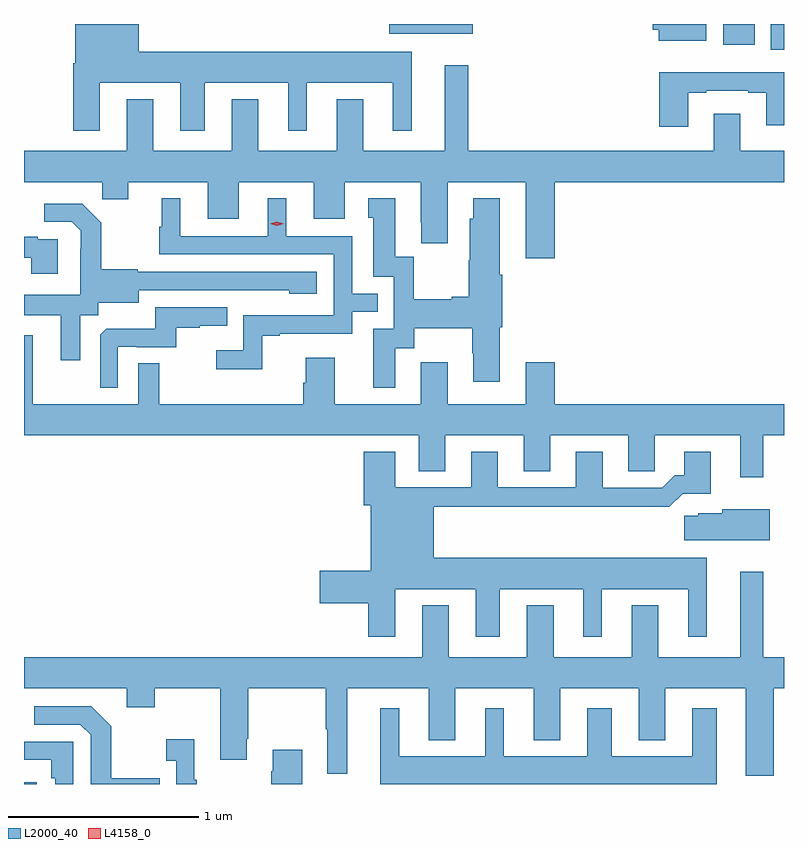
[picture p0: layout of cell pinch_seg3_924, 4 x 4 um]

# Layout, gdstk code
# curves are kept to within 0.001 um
import gdstk
lib = gdstk.Library(unit=1e-6, precision=1e-09)
def R(c, l, rs):  # rectangles x0, y0, x1, y1
    for r in rs: c.add(gdstk.rectangle(r[:2], r[2:], *l))
def P(c, l, *ps):  # polygons
    for p in ps: c.add(gdstk.Polygon(p, *l))
L2000_40 = (2000, 40)
L4158_0 = (4158, 0)

pinch_seg3_924 = lib.new_cell('pinch_seg3_924')
R(pinch_seg3_924, L2000_40, [(861.322,679.1,861.388,679.11), (865.253,682.964,865.322,683.1), (865.001,682.992,865.168,683.1), (863.244,683.048,863.683,683.1)])
P(pinch_seg3_924, L2000_40, [(861.721,682.79),(862.145,682.79),(862.145,682.539),(862.273,682.539),(862.273,682.79),(862.712,682.79),(862.712,682.539),(862.81,682.539),(862.81,682.79),(863.264,682.79),(863.264,682.539),(863.362,682.539),(863.362,682.954),(861.925,682.954),(861.925,683.1),(861.593,683.1),(861.593,682.894),(861.581,682.894),(861.581,682.539),(861.721,682.539)],
  [(864.913,683.1),(864.632,683.1),(864.632,683.07),(864.662,683.07),(864.662,683.012),(864.913,683.012)],
  [(864.116,682.268),(865.322,682.268),(865.322,682.432),(865.093,682.432),(865.093,682.627),(864.953,682.627),(864.953,682.432),(863.659,682.432),(863.659,682.882),(863.537,682.882),(863.537,682.432),(863.107,682.432),(863.107,682.705),(862.967,682.705),(862.967,682.432),(862.555,682.432),(862.555,682.705),(862.415,682.705),(862.415,682.432),(862.003,682.432),(862.003,682.705),(861.863,682.705),(861.863,682.432),(861.322,682.432),(861.322,682.268),(861.733,682.268),(861.733,682.178),(861.871,682.178),(861.871,682.268),(862.289,682.268),(862.289,682.074),(862.453,682.074),(862.453,682.268),(862.847,682.268),(862.847,682.074),(863.011,682.074),(863.011,682.268),(863.411,682.268),(863.411,682.057),(863.414,682.057),(863.414,681.945),(863.551,681.945),(863.551,682.268),(863.963,682.268),(863.963,681.867),(864.116,681.867)],
  [(864.817,682.737),(864.913,682.737),(864.913,682.749),(865.133,682.749),(865.133,682.737),(865.229,682.737),(865.229,682.568),(865.322,682.568),(865.322,682.846),(864.665,682.846),(864.665,682.56),(864.817,682.56)],
  [(863.275,681.394),(863.377,681.394),(863.377,681.5),(863.68,681.5),(863.68,681.366),(863.687,681.366),(863.687,681.216),(863.827,681.216),(863.827,681.504),(863.84,681.504),(863.84,681.779),(863.827,681.779),(863.827,682.183),(863.687,682.183),(863.687,682.074),(863.669,682.074),(863.669,681.857),(863.662,681.857),(863.662,681.665),(863.573,681.665),(863.573,681.652),(863.373,681.652),(863.373,681.875),(863.275,681.875),(863.275,682.183),(863.135,682.183),(863.135,682.08),(863.159,682.08),(863.159,681.771),(863.268,681.771),(863.268,681.495),(863.159,681.495),(863.159,681.186),(863.275,681.186)],
  [(862.575,681.459),(862.669,681.459),(862.669,681.471),(863.049,681.471),(863.049,681.585),(863.183,681.585),(863.183,681.681),(863.049,681.681),(863.049,681.984),(862.702,681.984),(862.702,682.183),(862.604,682.183),(862.604,681.984),(862.144,681.984),(862.144,682.183),(862.046,682.183),(862.046,682.032),(862.035,682.032),(862.035,681.888),(862.953,681.888),(862.953,681.567),(862.476,681.567),(862.476,681.382),(862.335,681.382),(862.335,681.284),(862.575,681.284)],
  [(861.619,681.568),(861.714,681.568),(861.714,681.632),(861.925,681.632),(861.925,681.699),(862.719,681.698),(862.719,681.68),(862.864,681.68),(862.864,681.795),(861.921,681.795),(861.921,681.808),(861.729,681.808),(861.729,682.053),(861.629,682.153),(861.429,682.153),(861.429,682.059),(861.573,682.059),(861.62,682.012),(861.62,681.917),(861.618,681.917),(861.618,681.676),(861.322,681.676),(861.322,681.566),(861.515,681.566),(861.515,681.33),(861.619,681.33)],
  [(861.499,681.966),(861.395,681.966),(861.395,681.979),(861.322,681.979),(861.322,681.87),(861.359,681.87),(861.359,681.786),(861.499,681.786)],
  [(861.816,681.402),(861.916,681.402),(861.916,681.399),(862.124,681.399),(862.124,681.501),(862.247,681.501),(862.247,681.512),(862.391,681.512),(862.391,681.609),(862.014,681.609),(862.014,681.497),(861.755,681.497),(861.723,681.465),(861.723,681.185),(861.816,681.185)],
  [(865.213,680.936),(865.322,680.936),(865.322,681.1),(864.116,681.1),(864.116,681.319),(863.963,681.319),(863.963,681.1),(863.551,681.1),(863.551,681.319),(863.411,681.319),(863.411,681.1),(862.957,681.1),(862.957,681.343),(862.805,681.343),(862.805,681.213),(862.793,681.213),(862.793,681.1),(862.033,681.1),(862.033,681.314),(861.924,681.314),(861.924,681.1),(861.367,681.1),(861.367,681.463),(861.322,681.463),(861.322,680.936),(863.399,680.936),(863.399,680.746),(863.539,680.746),(863.539,680.936),(863.951,680.936),(863.951,680.746),(864.091,680.746),(864.091,680.936),(864.503,680.936),(864.503,680.746),(864.642,680.746),(864.642,680.936),(865.091,680.936),(865.091,680.715),(865.213,680.715)],
  [(863.275,680.126),(863.699,680.126),(863.699,679.875),(863.827,679.875),(863.827,680.126),(864.266,680.126),(864.266,679.875),(864.364,679.875),(864.364,680.126),(864.818,680.126),(864.818,679.875),(864.916,679.875),(864.916,680.29),(863.479,680.29),(863.479,680.56),(864.463,680.56),(864.463,680.558),(864.719,680.558),(864.789,680.628),(864.937,680.628),(864.937,680.848),(864.797,680.848),(864.797,680.725),(864.748,680.725),(864.681,680.658),(864.367,680.658),(864.367,680.848),(864.227,680.848),(864.227,680.661),(863.815,680.661),(863.815,680.848),(863.675,680.848),(863.675,680.661),(863.275,680.661),(863.275,680.848),(863.111,680.848),(863.111,680.568),(863.147,680.568),(863.147,680.222),(862.878,680.222),(862.878,680.051),(863.135,680.051),(863.135,679.875),(863.275,679.875)],
  [(865.246,680.545),(864.996,680.545),(864.996,680.524),(864.87,680.524),(864.87,680.513),(864.798,680.513),(864.798,680.384),(865.246,680.384)],
  [(865.269,679.604),(865.322,679.604),(865.322,679.768),(865.213,679.768),(865.213,680.218),(865.091,680.218),(865.091,679.768),(864.661,679.768),(864.661,680.041),(864.521,680.041),(864.521,679.768),(864.109,679.768),(864.109,680.041),(863.969,680.041),(863.969,679.768),(863.557,679.768),(863.557,680.041),(863.417,680.041),(863.417,679.768),(861.322,679.768),(861.322,679.604),(861.863,679.604),(861.863,679.505),(862.011,679.505),(862.011,679.604),(862.355,679.604),(862.355,679.227),(862.495,679.227),(862.495,679.339),(862.503,679.339),(862.503,679.604),(862.909,679.604),(862.909,679.388),(862.919,679.388),(862.919,679.155),(863.023,679.155),(863.023,679.604),(863.453,679.604),(863.453,679.331),(863.593,679.331),(863.593,679.604),(864.005,679.604),(864.005,679.331),(864.145,679.331),(864.145,679.604),(864.557,679.604),(864.557,679.331),(864.697,679.331),(864.697,679.604),(865.121,679.604),(865.121,679.143),(865.269,679.143)],
  [(862.037,679.131),(861.781,679.131),(861.781,679.403),(861.675,679.509),(861.375,679.509),(861.375,679.413),(861.618,679.413),(861.672,679.359),(861.672,679.1),(862.037,679.1)],
  [(864.967,679.498),(864.839,679.498),(864.839,679.246),(864.415,679.246),(864.415,679.498),(864.287,679.498),(864.287,679.246),(863.848,679.246),(863.848,679.498),(863.75,679.498),(863.75,679.246),(863.296,679.246),(863.296,679.498),(863.198,679.498),(863.198,679.1),(864.967,679.1)],
  [(862.231,679.123),(862.219,679.123),(862.219,679.336),(862.071,679.336),(862.071,679.223),(862.122,679.223),(862.122,679.1),(862.231,679.1)],
  [(861.582,679.323),(861.322,679.323),(861.322,679.227),(861.466,679.227),(861.466,679.13),(861.486,679.13),(861.486,679.1),(861.582,679.1)],
  [(862.786,679.279),(862.631,679.279),(862.631,679.166),(862.624,679.166),(862.624,679.1),(862.786,679.1)])
P(pinch_seg3_924, L4158_0, [(862.653,682.039),(862.617,682.049),(862.617,682.049),(862.617,682.049),(862.653,682.059),(862.689,682.049),(862.689,682.049),(862.689,682.049)])

lib.write_gds('pinch_seg3_924.gds')
